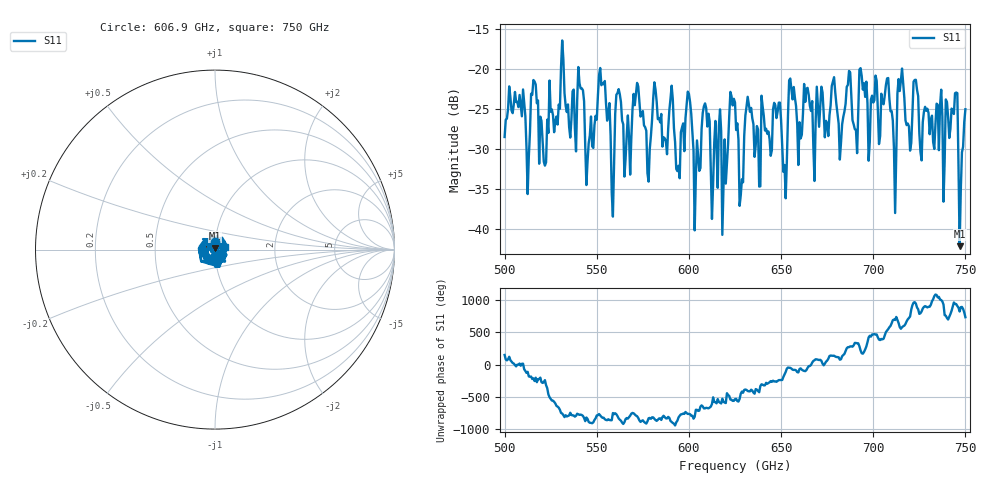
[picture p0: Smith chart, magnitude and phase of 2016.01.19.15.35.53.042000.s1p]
!Created with skrf (http://scikit-rf.org).
# GHz S RI R 50.0
!freq ReS11 ImS11
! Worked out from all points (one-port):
!   401 points, 500 GHz to 750 GHz, reference 50 ohm
!   lowest |S11| = -42.2 dB at 746.9 GHz (marker M1), VSWR 1.02, Z = 49.8 + j0.747 ohm
!   |S11| at or under -10 dB: start of sweep to end of sweep
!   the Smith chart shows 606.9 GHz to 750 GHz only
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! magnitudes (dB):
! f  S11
! 500 GHz  -28.5
! 512.5 GHz  -35.7
! 515.6 GHz  -21.4
! 521.9 GHz  -32.1
! 531.2 GHz  -16.4
! 541.2 GHz  -22.5
! 545 GHz  -31.6
! 552.5 GHz  -22.1
! 558.8 GHz  -38.5
! 562.5 GHz  -23.2
! 578.1 GHz  -34.1
! 590.6 GHz  -22.1
! 593.8 GHz  -32.8
! 600 GHz  -23.1
! 604.4 GHz  -29.0
! 609.4 GHz  -24.9
! 619.4 GHz  -28.8
! 625 GHz  -24.2
! 628.1 GHz  -35.8
! 632.5 GHz  -24.4
! 648.1 GHz  -25.4
! 651.9 GHz  -32.0
! 656.2 GHz  -23.8
! 687.5 GHz  -20.5
! 718.8 GHz  -26.9
! 744.4 GHz  -23.1
! 746.9 GHz  -42.2
! 750 GHz  -25.1
